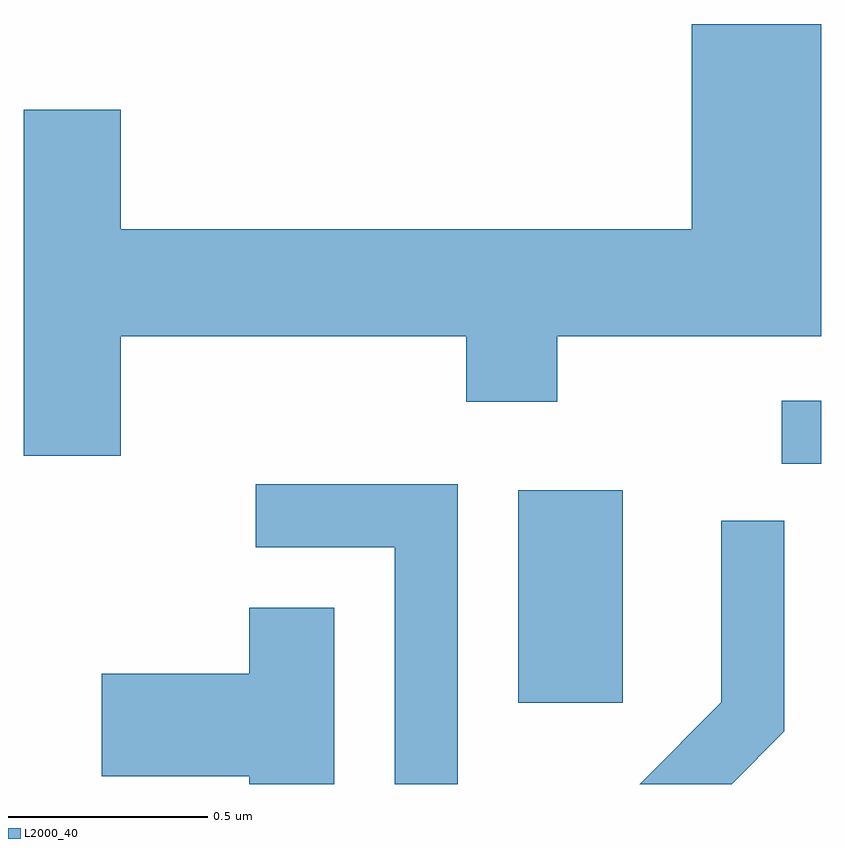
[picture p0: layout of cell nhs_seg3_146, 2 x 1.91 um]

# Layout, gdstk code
import gdstk
lib = gdstk.Library(unit=1e-6, precision=1e-09)
def R(c, l, rs):  # rectangles x0, y0, x1, y1
    for r in rs: c.add(gdstk.rectangle(r[:2], r[2:], *l))
def P(c, l, *ps):  # polygons
    for p in ps: c.add(gdstk.Polygon(p, *l))
L2000_40 = (2000, 40)

nhs_seg3_146 = lib.new_cell('nhs_seg3_146')
R(nhs_seg3_146, L2000_40, [(187.851,1125.096,188.114,1125.629), (188.513,1125.696,188.611,1125.854)])
P(nhs_seg3_146, L2000_40, [(186.854,1126.016),(187.721,1126.016),(187.721,1125.851),(187.949,1125.851),(187.949,1126.016),(188.611,1126.016),(188.611,1126.799),(188.286,1126.799),(188.286,1126.284),(186.854,1126.284),(186.854,1126.584),(186.611,1126.584),(186.611,1125.716),(186.854,1125.716)],
  [(187.699,1125.644),(187.193,1125.644),(187.193,1125.486),(187.541,1125.486),(187.541,1124.892),(187.699,1124.892)],
  [(188.519,1125.024),(188.519,1125.553),(188.361,1125.553),(188.361,1125.097),(188.156,1124.892),(188.387,1124.892)],
  [(187.389,1125.334),(187.176,1125.334),(187.176,1125.169),(186.806,1125.169),(186.806,1124.911),(187.176,1124.911),(187.176,1124.892),(187.389,1124.892)])

lib.write_gds('nhs_seg3_146.gds')
